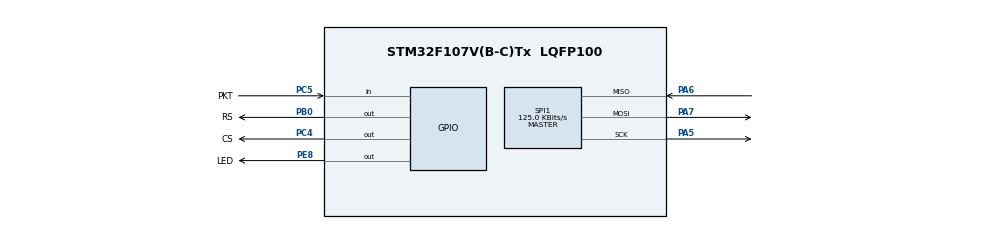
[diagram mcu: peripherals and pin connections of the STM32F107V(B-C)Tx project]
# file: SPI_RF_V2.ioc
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Mcu.Family=STM32F1
Mcu.Name=STM32F107V(B-C)Tx
Mcu.Package=LQFP100
NVIC.PriorityGroup=NVIC_PRIORITYGROUP_4
PA13.Mode=Serial_Wire
PA13.Signal=SYS_JTMS-SWDIO
PA14.Mode=Serial_Wire
PA14.Signal=SYS_JTCK-SWCLK
PA5.Mode=Full_Duplex_Master
PA5.Signal=SPI1_SCK
PA6.Mode=Full_Duplex_Master
PA6.Signal=SPI1_MISO
PA7.Mode=Full_Duplex_Master
PA7.Signal=SPI1_MOSI
PB0.GPIO_Label=RS
PB0.Signal=GPIO_Output
PC4.GPIO_Label=CS
PC4.Signal=GPIO_Output
PC5.GPIO_Label=PKT
PC5.Signal=GPIO_Input
PE8.GPIO_Label=LED
PE8.Signal=GPIO_Output
ProjectManager.HeapSize=0x200
ProjectManager.StackSize=0x400
ProjectManager.TargetToolchain=STM32CubeIDE
RCC.USBFreq_Value=10666666.666666666
SPI1.BaudRatePrescaler=SPI_BAUDRATEPRESCALER_64
SPI1.CalculateBaudRate=125.0 KBits/s
SPI1.DataSize=SPI_DATASIZE_16BIT
SPI1.Direction=SPI_DIRECTION_2LINES
SPI1.FirstBit=SPI_FIRSTBIT_LSB
SPI1.Mode=SPI_MODE_MASTER
SPI1.VirtualType=VM_MASTER
board=custom

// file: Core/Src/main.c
/* USER CODE BEGIN Header */
/**
  ******************************************************************************
  * @file           : main.c
  * @brief          : Main program body
  ******************************************************************************
  * @attention
  *
  * <h2><center>&copy; Copyright (c) 2020 STMicroelectronics.
  * All rights reserved.</center></h2>
  *
  * This software component is licensed by ST under BSD 3-Clause license,
  * the "License"; You may not use this file except in compliance with the
  * License. You may obtain a copy of the License at:
  *                        opensource.org/licenses/BSD-3-Clause
  *
  ******************************************************************************
  */
/* USER CODE END Header */

#include "main.h"

SPI_HandleTypeDef hspi1;

/* USER CODE BEGIN PV */
uint16_t reg;
uint8_t  buff[6];
/* USER CODE END PV */

void SystemClock_Config(void);
static void MX_GPIO_Init(void);
static void MX_SPI1_Init(void);
/* USER CODE BEGIN PFP */
void PL1167_Write(uint8_t address, uint16_t value);
uint16_t PL1167_Read(uint8_t address);
void PL1167_Init();
/* USER CODE END PFP */

int main(void)
{

  /* MCU Configuration--------------------------------------------------------*/

  /* Reset of all peripherals, Initializes the Flash interface and the Systick. */
  HAL_Init();

  /* Configure the system clock */
  SystemClock_Config();

  /* Initialize all configured peripherals */
  MX_GPIO_Init();
  MX_SPI1_Init();
  /* USER CODE BEGIN 2 */
  PL1167_Init();
  /* USER CODE END 2 */

  /* Infinite loop */
  /* USER CODE BEGIN WHILE */
  while (1)
  {
//		HAL_GPIO_WritePin(RS_GPIO_Port, RS_Pin, GPIO_PIN_RESET);
//
//		HAL_Delay(1);
//		HAL_GPIO_WritePin(RS_GPIO_Port, RS_Pin, GPIO_PIN_SET);
//
//		HAL_GPIO_WritePin(CS_GPIO_Port, CS_Pin, GPIO_PIN_SET);
//		HAL_Delay(1);

	  reg = PL1167_Read(0x21);
	  HAL_Delay(1000);
	  //
    /* USER CODE END WHILE */

  }
}

void SystemClock_Config(void)
{
  RCC_OscInitTypeDef RCC_OscInitStruct = {0};
  RCC_ClkInitTypeDef RCC_ClkInitStruct = {0};

  /** Initializes the CPU, AHB and APB busses clocks
  */
  RCC_OscInitStruct.OscillatorType = RCC_OSCILLATORTYPE_HSI;
  RCC_OscInitStruct.HSIState = RCC_HSI_ON;
  RCC_OscInitStruct.HSICalibrationValue = RCC_HSICALIBRATION_DEFAULT;
  RCC_OscInitStruct.PLL.PLLState = RCC_PLL_NONE;
  RCC_OscInitStruct.PLL2.PLL2State = RCC_PLL_NONE;
  if (HAL_RCC_OscConfig(&RCC_OscInitStruct) != HAL_OK)
  {
    Error_Handler();
  }
  /** Initializes the CPU, AHB and APB busses clocks
  */
  RCC_ClkInitStruct.ClockType = RCC_CLOCKTYPE_HCLK|RCC_CLOCKTYPE_SYSCLK
                              |RCC_CLOCKTYPE_PCLK1|RCC_CLOCKTYPE_PCLK2;
  RCC_ClkInitStruct.SYSCLKSource = RCC_SYSCLKSOURCE_HSI;
  RCC_ClkInitStruct.AHBCLKDivider = RCC_SYSCLK_DIV1;
  RCC_ClkInitStruct.APB1CLKDivider = RCC_HCLK_DIV1;
  RCC_ClkInitStruct.APB2CLKDivider = RCC_HCLK_DIV1;

  if (HAL_RCC_ClockConfig(&RCC_ClkInitStruct, FLASH_LATENCY_0) != HAL_OK)
  {
    Error_Handler();
  }
  /** Configure the Systick interrupt time
  */
  __HAL_RCC_PLLI2S_ENABLE();
}

static void MX_SPI1_Init(void)
{

  /* SPI1 parameter configuration*/
  hspi1.Instance = SPI1;
  hspi1.Init.Mode = SPI_MODE_MASTER;
  hspi1.Init.Direction = SPI_DIRECTION_2LINES;
  hspi1.Init.DataSize = SPI_DATASIZE_16BIT;
  hspi1.Init.CLKPolarity = SPI_POLARITY_LOW;
  hspi1.Init.CLKPhase = SPI_PHASE_1EDGE;
  hspi1.Init.NSS = SPI_NSS_SOFT;
  hspi1.Init.BaudRatePrescaler = SPI_BAUDRATEPRESCALER_64;
  hspi1.Init.FirstBit = SPI_FIRSTBIT_LSB;
  hspi1.Init.TIMode = SPI_TIMODE_DISABLE;
  hspi1.Init.CRCCalculation = SPI_CRCCALCULATION_DISABLE;
  hspi1.Init.CRCPolynomial = 10;
  if (HAL_SPI_Init(&hspi1) != HAL_OK)
  {
    Error_Handler();
  }

}

static void MX_GPIO_Init(void)
{
  GPIO_InitTypeDef GPIO_InitStruct = {0};

  /* GPIO Ports Clock Enable */
  __HAL_RCC_GPIOA_CLK_ENABLE();
  __HAL_RCC_GPIOC_CLK_ENABLE();
  __HAL_RCC_GPIOB_CLK_ENABLE();
  __HAL_RCC_GPIOE_CLK_ENABLE();

  /*Configure GPIO pin Output Level */
  HAL_GPIO_WritePin(CS_GPIO_Port, CS_Pin, GPIO_PIN_RESET);

  /*Configure GPIO pin Output Level */
  HAL_GPIO_WritePin(RS_GPIO_Port, RS_Pin, GPIO_PIN_RESET);

  /*Configure GPIO pin Output Level */
  HAL_GPIO_WritePin(LED_GPIO_Port, LED_Pin, GPIO_PIN_RESET);

  /*Configure GPIO pin : CS_Pin */
  GPIO_InitStruct.Pin = CS_Pin;
  GPIO_InitStruct.Mode = GPIO_MODE_OUTPUT_PP;
  GPIO_InitStruct.Pull = GPIO_NOPULL;
  GPIO_InitStruct.Speed = GPIO_SPEED_FREQ_LOW;
  HAL_GPIO_Init(CS_GPIO_Port, &GPIO_InitStruct);

  /*Configure GPIO pin : PKT_Pin */
  GPIO_InitStruct.Pin = PKT_Pin;
  GPIO_InitStruct.Mode = GPIO_MODE_INPUT;
  GPIO_InitStruct.Pull = GPIO_NOPULL;
  HAL_GPIO_Init(PKT_GPIO_Port, &GPIO_InitStruct);

  /*Configure GPIO pin : RS_Pin */
  GPIO_InitStruct.Pin = RS_Pin;
  GPIO_InitStruct.Mode = GPIO_MODE_OUTPUT_PP;
  GPIO_InitStruct.Pull = GPIO_NOPULL;
  GPIO_InitStruct.Speed = GPIO_SPEED_FREQ_LOW;
  HAL_GPIO_Init(RS_GPIO_Port, &GPIO_InitStruct);

  /*Configure GPIO pin : LED_Pin */
  GPIO_InitStruct.Pin = LED_Pin;
  GPIO_InitStruct.Mode = GPIO_MODE_OUTPUT_PP;
  GPIO_InitStruct.Pull = GPIO_NOPULL;
  GPIO_InitStruct.Speed = GPIO_SPEED_FREQ_LOW;
  HAL_GPIO_Init(LED_GPIO_Port, &GPIO_InitStruct);

}

/* USER CODE BEGIN 4 */

void PL1167_Write(uint8_t address, uint16_t value)
{
	uint8_t data[3];
	data[0] = address;
	// thử truy�?n bit cao trc
	data[1] = value & 0x00ff;
	data[2] = value >> 8;
//	data[1] = value | 0x00;
//	data[2] = (value >> 8) | 0x00;

	HAL_GPIO_WritePin(CS_GPIO_Port, CS_Pin, GPIO_PIN_RESET);
	HAL_SPI_Transmit(&hspi1, data, 3, 100);
	HAL_GPIO_WritePin(CS_GPIO_Port, CS_Pin, GPIO_PIN_SET);
}

uint16_t PL1167_Read(uint8_t address)
{
	//uint8_t rec[2];
	HAL_GPIO_WritePin(CS_GPIO_Port, CS_Pin, GPIO_PIN_RESET);
	HAL_SPI_Transmit(&hspi1, &address, 1, 1);
	HAL_SPI_Receive(&hspi1, buff, 3, 100);
	HAL_GPIO_WritePin(CS_GPIO_Port, CS_Pin, GPIO_PIN_SET);
//	uint16_t data = rec[0];
//	data = (data << 8) | rec[1];
	uint16_t data = buff[0];
	data = (data << 8) | buff[1];
	return data;
}

void PL1167_Init()
{
	HAL_GPIO_WritePin(RS_GPIO_Port, RS_Pin, GPIO_PIN_RESET);
	HAL_Delay(1);
	HAL_GPIO_WritePin(RS_GPIO_Port, RS_Pin, GPIO_PIN_SET);

	HAL_GPIO_WritePin(CS_GPIO_Port, CS_Pin, GPIO_PIN_SET);
	HAL_Delay(1);
	// clear RX_FIFO pointer REG_52 0x34:  get 0b0000 000 1000 0000 (0x80)
	PL1167_Write(0x34, 0x0080);
	// Setup REG_7(0x07) for EN_RX mode and RF_CH_SEL
	// bit 7 =1 for EN_RX. bit 8=0. RF_Frequen =2.409Ghz REG_7= 0b0000 0000 1000 0111

	PL1167_Write(0x07, 0x0087);

}
/* USER CODE END 4 */

void Error_Handler(void)
{
}

/************************ (C) COPYRIGHT STMicroelectronics *****END OF FILE****/
